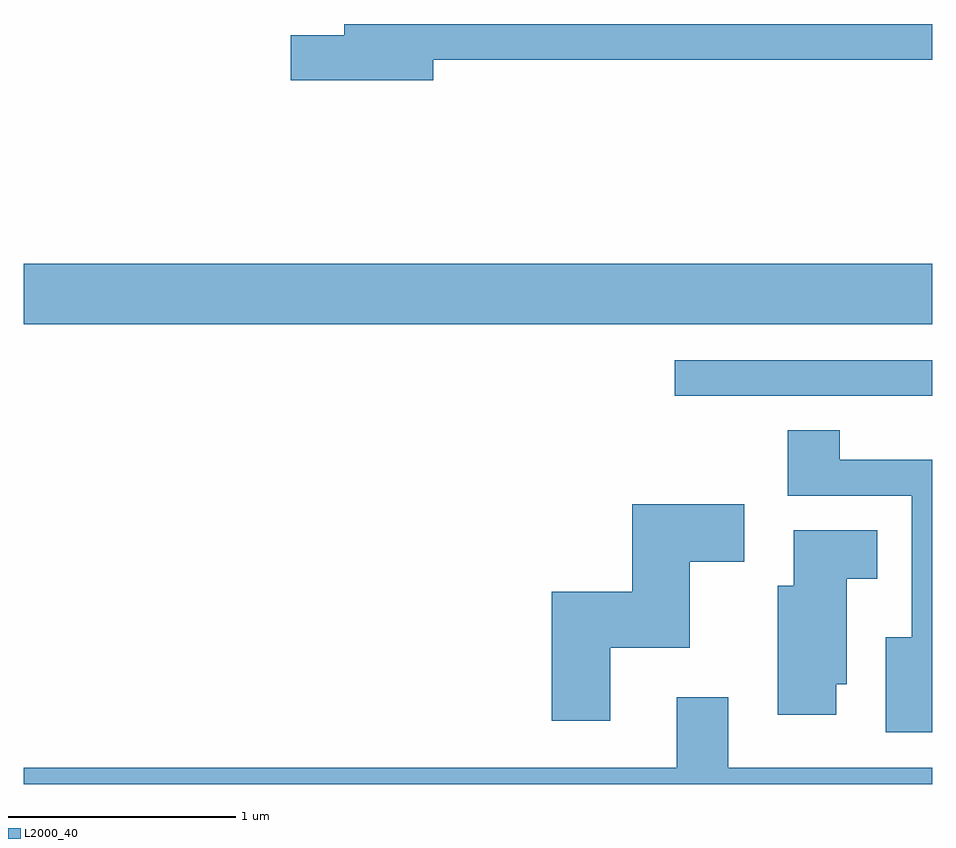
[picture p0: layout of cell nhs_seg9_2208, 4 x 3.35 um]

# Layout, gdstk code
import gdstk
lib = gdstk.Library(unit=1e-6, precision=1e-09)
def R(c, l, rs):  # rectangles x0, y0, x1, y1
    for r in rs: c.add(gdstk.rectangle(r[:2], r[2:], *l))
def P(c, l, *ps):  # polygons
    for p in ps: c.add(gdstk.Polygon(p, *l))
L2000_40 = (2000, 40)

nhs_seg9_2208 = lib.new_cell('nhs_seg9_2208')
R(nhs_seg9_2208, L2000_40, [(252.478,2018.141,253.611,2018.299), (249.611,2018.456,253.611,2018.724)])
P(nhs_seg9_2208, L2000_40, [(251.414,2019.621),(253.611,2019.621),(253.611,2019.779),(251.021,2019.779),(251.021,2019.729),(250.786,2019.729),(250.786,2019.531),(251.414,2019.531)],
  [(253.611,2017.859),(253.204,2017.859),(253.204,2017.989),(252.976,2017.989),(252.976,2017.701),(253.521,2017.701),(253.521,2017.079),(253.406,2017.079),(253.406,2016.661),(253.611,2016.661)],
  [(252.194,2017.031),(252.544,2017.031),(252.544,2017.411),(252.784,2017.411),(252.784,2017.664),(252.291,2017.664),(252.291,2017.279),(251.936,2017.279),(251.936,2016.711),(252.194,2016.711)],
  [(253.189,2016.871),(253.234,2016.871),(253.234,2017.336),(253.369,2017.336),(253.369,2017.549),(253.001,2017.549),(253.001,2017.304),(252.931,2017.304),(252.931,2016.736),(253.189,2016.736)],
  [(253.611,2016.504),(252.714,2016.504),(252.714,2016.814),(252.486,2016.814),(252.486,2016.504),(249.611,2016.504),(249.611,2016.432),(253.611,2016.432)])

lib.write_gds('nhs_seg9_2208.gds')
